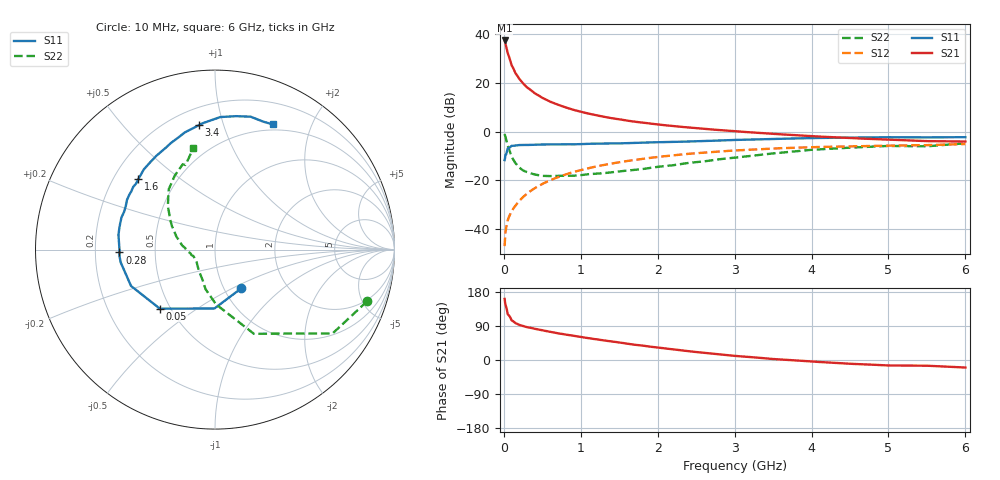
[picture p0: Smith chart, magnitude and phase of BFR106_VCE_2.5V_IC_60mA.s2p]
! Infineon Technologies  Discrete & RF Semiconductors
! BFR106
! VCE =  2.5 V,  IC =  60 mA
! Common Emitter S-Parameters:  Nov 2015
# GHz  S  MA  R  50
!  f  S11  S21  S12  S22
! GHz  MAG  ANG  MAG  ANG  MAG  ANG  MAG  ANG
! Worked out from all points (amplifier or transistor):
!   210 points, 10 MHz to 6 GHz, reference 50 ohm
!   highest |S21| = 37.3 dB at 10 MHz (marker M1)
!   |S21| within 3 dB of that: start of sweep to 34.29 MHz
!   unconditionally stable (mu >= 1): 225.6 MHz to 2.652 GHz; 5.277 GHz to end of sweep
!   at 185 MHz: K = 0.96, MSG = 25.7 dB, |S12| = -29.0 dB
!   at 1.52 GHz: K = 1.06, MAG = 7.3 dB, |S12| = -12.5 dB
!   at 6 GHz: K = 1.00, MAG = 0.3 dB, |S12| = -5.1 dB
!   S11 on the Smith chart (normalised r, x): 10 MHz: 1.20, -0.56; 50 MHz: 0.44, -0.36; 280 MHz: 0.31, -0.01; 1.6 GHz: 0.30, +0.36; 3.4 GHz: 0.31, +0.83; 6 GHz: 0.43, +1.47
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0.01  0.2608 -55.7  73.53 161.3  0.0045 77.3  0.8949 -18.8
0.02  0.3279 -90.5  64.82 146.5  0.0085 66.8  0.8045 -35.5
0.05  0.4502 -133.0  40.6 120.9  0.0152 60.6  0.5166 -65.2
0.1  0.5098 -156.6  23.09 104.8  0.0232 62.7  0.3058 -88.8
0.15  0.5186 -167.3  15.83 97.2  0.0303 65.7  0.2273 -103.3
0.2  0.5301 -172.2  12.06 92.7  0.0376 68.6  0.1842 -111.9
0.24  0.533 -175.7  10.13 90.1  0.044 69.8  0.1641 -119.2
0.28  0.5326 -178.3  8.709 87.9  0.0503 71.1  0.1525 -124.7
0.3  0.5319 -179.4  8.084 86.7  0.0534 71.8  0.1482 -127.2
0.4  0.5373 175.2  6.118 82.3  0.0689 71.9  0.1324 -137.7
0.5  0.5441 171.3  4.917 78.2  0.0846 71.8  0.124 -145.2
0.6  0.5466 167.5  4.115 74.3  0.1002 71.2  0.1227 -149.7
0.7  0.5482 164.0  3.562 70.6  0.1162 70.2  0.1244 -154.2
0.82  0.5505 160.3  3.063 66.6  0.1352 68.4  0.1243 -159.7
1.02  0.5547 153.4  2.499 60.3  0.1656 65.7  0.1293 -164.9
1.6  0.5806 137.4  1.679 43.3  0.2497 56.5  0.1589 -179.3
2.02  0.6061 126.4  1.389 32.5  0.3045 49.5  0.1912 170.7
3.1  0.6792 102.7  0.992 9.4  0.4177 31.8  0.3038 145.3
3.4  0.6993 97.3  0.92 4.4  0.4425 27.2  0.3433 139.1
4.1  0.741 86.3  0.791 -5.2  0.4841 16.9  0.4317 125.6
5.1  0.7651 73.9  0.674 -14.5  0.5183 4.9  0.5064 110.4
6  0.7681 65.3  0.626 -19.9  0.5565 -4.2  0.5773 102.0
